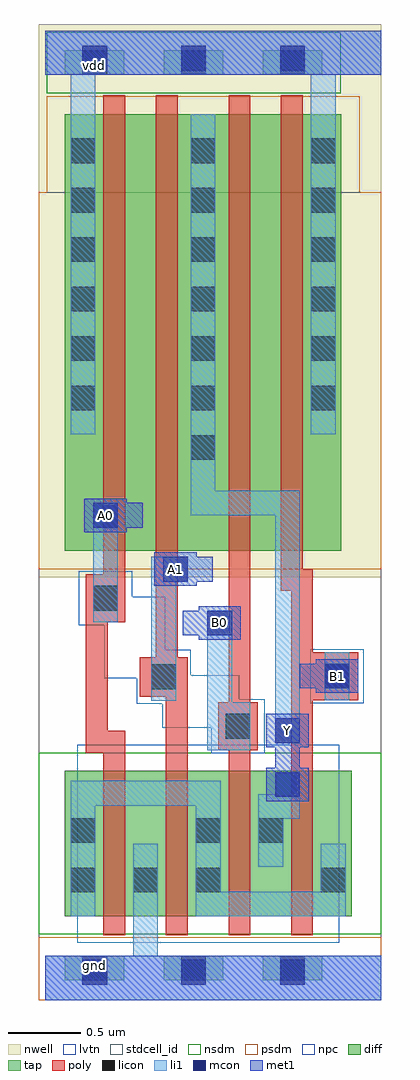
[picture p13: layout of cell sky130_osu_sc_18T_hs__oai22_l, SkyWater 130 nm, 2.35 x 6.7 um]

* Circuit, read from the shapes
.subckt sky130_osu_sc_18T_hs__oai22_l A0 A1 B0 B1 Y gnd vdd
XM1 gnd A0 n1 gnd sky130_fd_pr__nfet_01v8_lvt w=1 l=0.15
XM2 n1 A1 gnd gnd sky130_fd_pr__nfet_01v8_lvt w=1 l=0.15
XM3 Y B0 n1 gnd sky130_fd_pr__nfet_01v8_lvt w=1 l=0.15
XM4 n1 B1 Y gnd sky130_fd_pr__nfet_01v8_lvt w=1 l=0.15
XM5 n2 A0 vdd vdd sky130_fd_pr__pfet_01v8 w=3 l=0.15
XM6 Y A1 n2 vdd sky130_fd_pr__pfet_01v8 w=3 l=0.15
XM7 n3 B0 Y vdd sky130_fd_pr__pfet_01v8 w=3 l=0.15
XM8 vdd B1 n3 vdd sky130_fd_pr__pfet_01v8 w=3 l=0.15
.ends

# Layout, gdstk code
import gdstk
lib = gdstk.Library(unit=1e-6, precision=1e-09)
def R(c, l, rs):  # rectangles x0, y0, x1, y1
    for r in rs: c.add(gdstk.rectangle(r[:2], r[2:], *l))
nwell = (64, 20)
diff = (65, 20)
tap = (65, 44)
poly = (66, 20)
licon = (66, 44)
li1 = (67, 20)
mcon = (67, 44)
met1 = (68, 20)
stdcell_id = (81, 4)
nsdm = (93, 44)
psdm = (94, 20)
npc = (95, 20)
lvtn = (125, 44)

sky130_osu_sc_18t_hs__oa = lib.new_cell('sky130_osu_sc_18T_hs__oai22_l')
R(sky130_osu_sc_18t_hs__oa, nwell, [(-0.045,2.905,2.31,6.705), (-0.045,2.905,2.31,6.705)])
R(sky130_osu_sc_18t_hs__oa, diff, [(0.135,0.575,2.105,1.575), (0.135,0.575,2.105,1.575), (0.135,3.085,2.035,6.085), (0.135,3.085,2.035,6.085)])
R(sky130_osu_sc_18t_hs__oa, tap, [(0.135,0.135,0.545,0.305), (0.135,0.135,0.545,0.305), (0.815,0.135,1.225,0.305), (0.815,0.135,1.225,0.305), (1.495,0.135,1.905,0.305), (1.495,0.135,1.905,0.305), (0.135,6.355,0.545,6.525), (0.135,6.355,0.545,6.525), (0.815,6.355,1.225,6.525), (0.815,6.355,1.225,6.525), (1.495,6.355,1.905,6.525), (1.495,6.355,1.905,6.525)])
R(sky130_osu_sc_18t_hs__oa, poly, [(0.4,0.445,0.55,1.7), (0.4,0.445,0.55,1.7), (0.83,0.445,0.98,2.085), (0.83,0.445,0.98,2.085), (1.26,0.445,1.41,1.715), (1.26,0.445,1.41,1.715), (1.69,0.445,1.84,2.06), (1.69,0.445,1.84,2.06), (0.28,1.7,0.55,1.85), (0.28,1.7,0.55,1.85), (1.19,1.715,1.46,2.045), (1.19,1.715,1.46,2.045), (0.28,1.85,0.43,2.595), (0.28,1.85,0.43,2.595), (1.26,2.045,1.41,6.215), (1.26,2.045,1.41,6.215), (1.69,2.06,2.15,2.39), (1.69,2.06,2.15,2.39), (0.65,2.085,0.98,2.355), (0.65,2.085,0.98,2.355), (0.76,2.355,0.91,6.215), (0.76,2.355,0.91,6.215), (1.69,2.39,1.84,2.81), (1.69,2.39,1.84,2.81), (0.28,2.595,0.55,2.925), (0.28,2.595,0.55,2.925), (1.62,2.81,1.84,2.96), (1.62,2.81,1.84,2.96), (0.4,2.925,0.55,6.215), (0.4,2.925,0.55,6.215), (1.62,2.96,1.77,6.215), (1.62,2.96,1.77,6.215)])
R(sky130_osu_sc_18t_hs__oa, licon, [(0.255,0.135,0.425,0.305), (0.255,0.135,0.425,0.305), (0.935,0.135,1.105,0.305), (0.935,0.135,1.105,0.305), (1.615,0.135,1.785,0.305), (1.615,0.135,1.785,0.305), (0.175,0.74,0.345,0.91), (0.175,0.74,0.345,0.91), (0.605,0.74,0.775,0.91), (0.605,0.74,0.775,0.91), (1.035,0.74,1.205,0.91), (1.035,0.74,1.205,0.91), (1.895,0.74,2.065,0.91), (1.895,0.74,2.065,0.91), (0.175,1.08,0.345,1.25), (0.175,1.08,0.345,1.25), (1.035,1.08,1.205,1.25), (1.035,1.08,1.205,1.25), (1.465,1.08,1.635,1.25), (1.465,1.08,1.635,1.25), (1.24,1.795,1.41,1.965), (1.24,1.795,1.41,1.965), (0.73,2.135,0.9,2.305), (0.73,2.135,0.9,2.305), (1.92,2.14,2.09,2.31), (1.92,2.14,2.09,2.31), (0.33,2.675,0.5,2.845), (0.33,2.675,0.5,2.845), (1,3.71,1.17,3.88), (1,3.71,1.17,3.88), (0.175,4.05,0.345,4.22), (0.175,4.05,0.345,4.22), (1,4.05,1.17,4.22), (1,4.05,1.17,4.22), (1.825,4.05,1.995,4.22), (1.825,4.05,1.995,4.22), (0.175,4.39,0.345,4.56), (0.175,4.39,0.345,4.56), (1,4.39,1.17,4.56), (1,4.39,1.17,4.56), (1.825,4.39,1.995,4.56), (1.825,4.39,1.995,4.56), (0.175,4.73,0.345,4.9), (0.175,4.73,0.345,4.9), (1,4.73,1.17,4.9), (1,4.73,1.17,4.9), (1.825,4.73,1.995,4.9), (1.825,4.73,1.995,4.9), (0.175,5.07,0.345,5.24), (0.175,5.07,0.345,5.24), (1,5.07,1.17,5.24), (1,5.07,1.17,5.24), (1.825,5.07,1.995,5.24), (1.825,5.07,1.995,5.24), (0.175,5.41,0.345,5.58), (0.175,5.41,0.345,5.58), (1,5.41,1.17,5.58), (1,5.41,1.17,5.58), (1.825,5.41,1.995,5.58), (1.825,5.41,1.995,5.58), (0.175,5.75,0.345,5.92), (0.175,5.75,0.345,5.92), (1,5.75,1.17,5.92), (1,5.75,1.17,5.92), (1.825,5.75,1.995,5.92), (1.825,5.75,1.995,5.92), (0.255,6.355,0.425,6.525), (0.255,6.355,0.425,6.525), (0.935,6.355,1.105,6.525), (0.935,6.355,1.105,6.525), (1.615,6.355,1.785,6.525), (1.615,6.355,1.785,6.525)])
R(sky130_osu_sc_18t_hs__oa, li1, [(0,0,2.31,0.305), (0,0,2.31,0.305), (0.605,0.305,0.775,1.075), (0.605,0.305,0.775,1.075), (0.175,0.575,0.345,1.335), (0.175,0.575,0.345,1.335), (1.035,0.575,2.065,0.745), (1.035,0.575,2.065,0.745), (1.035,0.745,1.205,1.335), (1.035,0.745,1.205,1.335), (1.895,0.745,2.065,1.075), (1.895,0.745,2.065,1.075), (1.465,0.915,1.635,1.245), (1.465,0.915,1.635,1.245), (1.465,1.245,1.75,1.415), (1.465,1.245,1.75,1.415), (0.175,1.335,1.205,1.505), (0.175,1.335,1.205,1.505), (1.58,1.415,1.75,1.565), (1.58,1.415,1.75,1.565), (1.115,1.715,1.41,2.045), (1.115,1.715,1.41,2.045), (1.58,1.765,1.75,3.33), (1.58,1.765,1.75,3.33), (1.115,2.045,1.285,2.675), (1.115,2.045,1.285,2.675), (0.73,2.055,0.9,2.875), (0.73,2.055,0.9,2.875), (1.92,2.06,2.09,2.39), (1.92,2.06,2.09,2.39), (0.33,2.595,0.5,3.415), (0.33,2.595,0.5,3.415), (0.73,2.875,0.98,3.045), (0.73,2.875,0.98,3.045), (1,3.33,1.75,3.5), (1,3.33,1.75,3.5), (1,3.5,1.17,6.085), (1,3.5,1.17,6.085), (0.175,3.885,0.345,6.355), (0.175,3.885,0.345,6.355), (1.825,3.885,1.995,6.355), (1.825,3.885,1.995,6.355), (0,6.355,2.31,6.66), (0,6.355,2.31,6.66)])
R(sky130_osu_sc_18t_hs__oa, mcon, [(0.255,0.105,0.425,0.275), (0.255,0.105,0.425,0.275), (0.935,0.105,1.105,0.275), (0.935,0.105,1.105,0.275), (1.615,0.105,1.785,0.275), (1.615,0.105,1.785,0.275), (1.58,1.395,1.75,1.565), (1.58,1.395,1.75,1.565), (1.58,1.765,1.75,1.935), (1.58,1.765,1.75,1.935), (1.92,2.14,2.09,2.31), (1.92,2.14,2.09,2.31), (1.115,2.505,1.285,2.675), (1.115,2.505,1.285,2.675), (0.81,2.875,0.98,3.045), (0.81,2.875,0.98,3.045), (0.33,3.245,0.5,3.415), (0.33,3.245,0.5,3.415), (0.255,6.385,0.425,6.555), (0.255,6.385,0.425,6.555), (0.935,6.385,1.105,6.555), (0.935,6.385,1.105,6.555), (1.615,6.385,1.785,6.555), (1.615,6.385,1.785,6.555)])
R(sky130_osu_sc_18t_hs__oa, met1, [(0,0,2.31,0.305), (0,0,2.31,0.305), (1.52,1.365,1.81,1.595), (1.52,1.365,1.81,1.595), (1.58,1.595,1.75,1.735), (1.58,1.595,1.75,1.735), (1.52,1.735,1.81,1.965), (1.52,1.735,1.81,1.965), (1.86,2.11,2.15,2.14), (1.86,2.11,2.15,2.14), (1.75,2.14,2.15,2.31), (1.75,2.14,2.15,2.31), (1.86,2.31,2.15,2.34), (1.86,2.31,2.15,2.34), (1.055,2.475,1.345,2.505), (1.055,2.475,1.345,2.505), (0.945,2.505,1.345,2.675), (0.945,2.505,1.345,2.675), (1.055,2.675,1.345,2.705), (1.055,2.675,1.345,2.705), (0.75,2.845,1.04,2.875), (0.75,2.845,1.04,2.875), (0.75,2.875,1.15,3.045), (0.75,2.875,1.15,3.045), (0.75,3.045,1.04,3.075), (0.75,3.045,1.04,3.075), (0.27,3.215,0.56,3.245), (0.27,3.215,0.56,3.245), (0.27,3.245,0.67,3.415), (0.27,3.245,0.67,3.415), (0.27,3.415,0.56,3.445), (0.27,3.415,0.56,3.445), (0,6.355,2.31,6.66), (0,6.355,2.31,6.66)])
R(sky130_osu_sc_18t_hs__oa, stdcell_id, [(-0.045,0,2.31,5.55), (-0.045,0,2.31,5.55)])
R(sky130_osu_sc_18t_hs__oa, nsdm, [(-0.045,0.45,2.31,1.7), (-0.045,0.45,2.31,1.7), (0.01,6.23,2.03,6.65), (0.01,6.23,2.03,6.65)])
R(sky130_osu_sc_18t_hs__oa, psdm, [(-0.045,0,2.31,0.43), (-0.045,0,2.31,0.43), (-0.045,2.96,2.31,5.55), (-0.045,2.96,2.31,5.55), (0.01,5.55,2.16,6.21), (0.01,5.55,2.16,6.21)])
R(sky130_osu_sc_18t_hs__oa, npc, [(1.14,1.695,1.51,1.87), (1.14,1.695,1.51,1.87), (0.805,1.87,1.51,2.035), (0.805,1.87,1.51,2.035), (0.63,2.035,1.51,2.065), (0.63,2.035,1.51,2.065), (1.82,2.04,2.19,2.41), (1.82,2.04,2.19,2.41), (0.63,2.065,1.335,2.21), (0.63,2.065,1.335,2.21), (0.405,2.21,1.335,2.23), (0.405,2.21,1.335,2.23), (0.405,2.23,1,2.405), (0.405,2.23,1,2.405), (0.405,2.405,0.825,2.575), (0.405,2.405,0.825,2.575), (0.23,2.575,0.825,2.77), (0.23,2.575,0.825,2.77), (0.23,2.77,0.6,2.945), (0.23,2.77,0.6,2.945)])
R(sky130_osu_sc_18t_hs__oa, lvtn, [(0.22,0.395,2.02,1.755), (0.22,0.395,2.02,1.755)])
sky130_osu_sc_18t_hs__oa.add(gdstk.Label('gnd', (0.34,0.24), layer=68, texttype=16))
sky130_osu_sc_18t_hs__oa.add(gdstk.Label('vdd', (0.34,6.42), layer=68, texttype=16))
sky130_osu_sc_18t_hs__oa.add(gdstk.Label('gnd', (0.34,0.24), layer=68, texttype=16))
sky130_osu_sc_18t_hs__oa.add(gdstk.Label('vdd', (0.34,6.42), layer=68, texttype=16))
sky130_osu_sc_18t_hs__oa.add(gdstk.Label('B0', (1.2,2.59), layer=68, texttype=5))
sky130_osu_sc_18t_hs__oa.add(gdstk.Label('A1', (0.895,2.96), layer=68, texttype=5))
sky130_osu_sc_18t_hs__oa.add(gdstk.Label('A0', (0.415,3.33), layer=68, texttype=5))
sky130_osu_sc_18t_hs__oa.add(gdstk.Label('Y', (1.665,1.85), layer=68, texttype=5))
sky130_osu_sc_18t_hs__oa.add(gdstk.Label('B1', (2.005,2.225), layer=68, texttype=5))
sky130_osu_sc_18t_hs__oa.add(gdstk.Label('B0', (1.2,2.59), layer=68, texttype=5))
sky130_osu_sc_18t_hs__oa.add(gdstk.Label('A1', (0.895,2.96), layer=68, texttype=5))
sky130_osu_sc_18t_hs__oa.add(gdstk.Label('A0', (0.415,3.33), layer=68, texttype=5))
sky130_osu_sc_18t_hs__oa.add(gdstk.Label('Y', (1.665,1.85), layer=68, texttype=5))
sky130_osu_sc_18t_hs__oa.add(gdstk.Label('B1', (2.005,2.225), layer=68, texttype=5))

lib.write_gds('sky130_osu_sc_18T_hs__oai22_l.gds')
